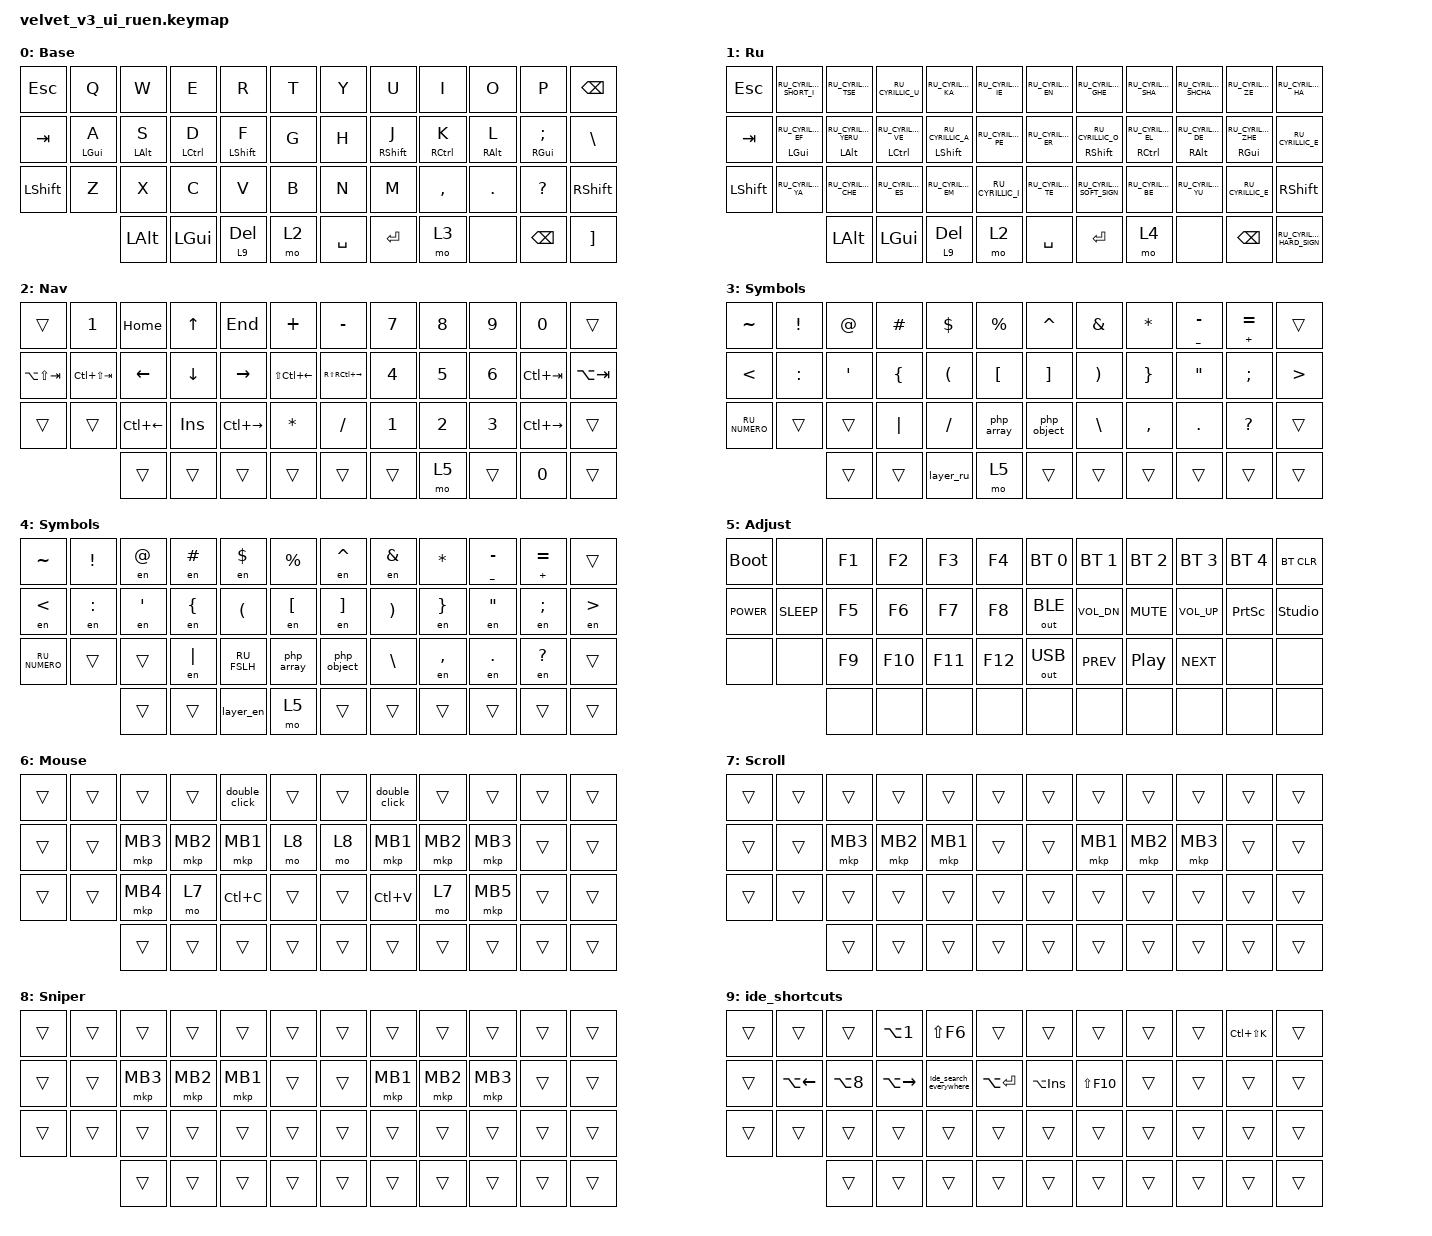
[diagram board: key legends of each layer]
#include "keys_ru.h"
#include <dt-bindings/zmk/input_transform.h>
#include <input/processors.dtsi>
#include <zephyr/dt-bindings/input/input-event-codes.h>
#include <behaviors.dtsi>
#include <dt-bindings/zmk/bt.h>
#include <dt-bindings/zmk/keys.h>
#include <dt-bindings/zmk/outputs.h>
#include <dt-bindings/zmk/pointing.h>

/ {
    behaviors {
        cap_sen: cap_sen {
            compatible = "zmk,behavior-hold-tap";
            label = "CAP_SEN";
            bindings = <&mo>, <&mkp>;

            #binding-cells = <2>;
            tapping-term-ms = <150>;
            hold-while-undecided;
        };

        mouse_layer: mouse_layer {
            compatible = "zmk,behavior-sticky-key";
            label = "MOUSE_LAYER";
            bindings = <&mo>;
            #binding-cells = <1>;
            release-after-ms = <200>;
            quick-release;
        };

        home_row_delay: home_row_delay {
            compatible = "zmk,behavior-hold-tap";
            label = "HOME_ROW_DELAY";
            bindings = <&kp>, <&kp>;

            #binding-cells = <2>;
            flavor = "balanced";
            tapping-term-ms = <220>;
            require-prior-idle-ms = <100>;
        };

        delete_or_to_ide_shortcuts: delete_or_to_ide_shortcuts {
            compatible = "zmk,behavior-hold-tap";
            label = "DELETE_OR_TO_IDE_SHORTCUTS";
            bindings = <&mo>, <&kp>;

            #binding-cells = <2>;
            tapping-term-ms = <250>;
            flavor = "balanced";
        };

        zip_auto_mouse: zip_auto_mouse {
            compatible = "zmk,input-processor-temp-layer";
            #input-processor-cells = <2>;
            require-prior-idle-ms = <800>;
            excluded-positions = <>;
        };
    };

    combos {
        compatible = "zmk,combos";

        cmben {
            bindings = <&layer_en>;
            key-positions = <24 35>;
            layers = <1>;
        };

        cmbru {
            bindings = <&layer_ru>;
            key-positions = <35 24>;
            layers = <0>;
        };
    };

    macros {
        to_ru: to_ru {
            compatible = "zmk,behavior-macro";
            #binding-cells = <0>;
            bindings = <&kp LS(LC(N2))>;
            label = "TO_RU";
            wait-ms = <0>;
            tap-ms = <30>;
        };

        to_en: to_en {
            compatible = "zmk,behavior-macro";
            #binding-cells = <0>;
            bindings = <&kp LS(LC(N1))>;
            label = "TO_EN";
            wait-ms = <0>;
            tap-ms = <30>;
        };

        layer_en: layer_en {
            compatible = "zmk,behavior-macro";
            #binding-cells = <0>;
            bindings = <&to 0 &to_en>;
            label = "LAYER_EN";
            wait-ms = <0>;
            tap-ms = <30>;
        };

        layer_ru: layer_ru {
            compatible = "zmk,behavior-macro";
            #binding-cells = <0>;
            bindings = <&to 1 &to_ru>;
            label = "LAYER_RU";
            tap-ms = <30>;
            wait-ms = <0>;
        };

        en: en {
            compatible = "zmk,behavior-macro-one-param";
            #binding-cells = <1>;
            bindings =
                <&to_en>,
                <&macro_press>,
                <&macro_param_1to1 &kp MACRO_PLACEHOLDER>,
                <&macro_pause_for_release>,
                <&macro_release>,
                <&macro_param_1to1 &kp MACRO_PLACEHOLDER>,
                <&macro_tap>,
                <&to_ru>;

            label = "EN";
            wait-ms = <0>;
            tap-ms = <30>;
        };

        double_click: double_click {
            compatible = "zmk,behavior-macro";
            #binding-cells = <0>;
            bindings = <&mkp LCLK &mkp LCLK>;
            label = "DOUBLE_CLICK";
        };

        php_array: php_array {
            compatible = "zmk,behavior-macro";
            #binding-cells = <0>;
            bindings = <&kp EQUAL &en GT>;
            label = "PHP_ARRAY";
        };

        php_object: php_object {
            compatible = "zmk,behavior-macro";
            #binding-cells = <0>;
            bindings = <&kp MINUS &en GT>;
            label = "PHP_OBJECT";
        };

        ide_search_everywhere: ide_search_everywhere {
            compatible = "zmk,behavior-macro";
            #binding-cells = <0>;
            bindings = <&kp LEFT_SHIFT &kp LEFT_SHIFT>;
            label = "IDE_SEARCH_EVERYWHERE";
        };

        new_macro: new_macro {
            compatible = "zmk,behavior-macro";
            #binding-cells = <0>;
            bindings = <&none>;
            label = "NEW_MACRO";
        };
    };

    keymap {
        compatible = "zmk,keymap";

        en {
            bindings = <
&kp ESC    &kp Q                       &kp W                       &kp E                    &kp R                                 &kp T                        &kp Y  &kp U                          &kp I                    &kp O                        &kp P                           &kp BSPC
&kp TAB    &home_row_delay LEFT_GUI A  &home_row_delay LEFT_ALT S  &home_row_delay LCTRL D  &home_row_delay LEFT_SHIFT F          &kp G                        &kp H  &home_row_delay RIGHT_SHIFT J  &home_row_delay RCTRL K  &home_row_delay RIGHT_ALT L  &home_row_delay RIGHT_GUI SEMI  &kp BSLH
&kp LSHFT  &kp Z                       &kp X                       &kp C                    &kp V                                 &kp B                        &kp N  &kp M                          &kp COMMA                &kp DOT                      &kp QMARK                       &kp RSHFT
                                       &kp LALT                    &kp LGUI                 &delete_or_to_ide_shortcuts 9 DELETE  &mo 2  &kp SPACE    &kp RET  &mo 3  &none                          &kp BACKSPACE            &kp RBKT
            >;

            display-name = "Base";
        };

        ru {
            display-name = "Ru";
            bindings = <
&kp ESC    &kp RU_CYRILLIC_SHORT_I                  &kp RU_CYRILLIC_TSE                        &kp RU_CYRILLIC_U                     &kp RU_CYRILLIC_KA                        &kp RU_CYRILLIC_IE                        &kp RU_CYRILLIC_EN  &kp RU_CYRILLIC_GHE                        &kp RU_CYRILLIC_SHA                   &kp RU_CYRILLIC_SHCHA                     &kp RU_CYRILLIC_ZE                         &kp RU_CYRILLIC_HA
&kp TAB    &home_row_delay LEFT_GUI RU_CYRILLIC_EF  &home_row_delay LEFT_ALT RU_CYRILLIC_YERU  &home_row_delay LCTRL RU_CYRILLIC_VE  &home_row_delay LEFT_SHIFT RU_CYRILLIC_A  &kp RU_CYRILLIC_PE                        &kp RU_CYRILLIC_ER  &home_row_delay RIGHT_SHIFT RU_CYRILLIC_O  &home_row_delay RCTRL RU_CYRILLIC_EL  &home_row_delay RIGHT_ALT RU_CYRILLIC_DE  &home_row_delay RIGHT_GUI RU_CYRILLIC_ZHE  &kp RU_CYRILLIC_E
&kp LSHFT  &kp RU_CYRILLIC_YA                       &kp RU_CYRILLIC_CHE                        &kp RU_CYRILLIC_ES                    &kp RU_CYRILLIC_EM                        &kp RU_CYRILLIC_I                         &kp RU_CYRILLIC_TE  &kp RU_CYRILLIC_SOFT_SIGN                  &kp RU_CYRILLIC_BE                    &kp RU_CYRILLIC_YU                        &kp RU_CYRILLIC_E                          &kp RIGHT_SHIFT
                                                    &kp LALT                                   &kp LGUI                              &delete_or_to_ide_shortcuts 9 DELETE      &mo 2               &kp SPACE    &kp RET  &mo 4               &none                                      &kp BACKSPACE                         &kp RU_CYRILLIC_HARD_SIGN
            >;
        };

        nav {
            bindings = <
&trans           &kp N1           &kp HOME            &kp UP          &kp END              &kp PLUS                                  &kp MINUS                &kp N7        &kp N8        &kp N9        &kp N0         &trans
&kp LA(LS(TAB))  &kp LC(LS(TAB))  &kp LEFT            &kp DOWN_ARROW  &kp RIGHT_ARROW      &kp LS(LC(LEFT_ARROW))                    &kp RS(RC(RIGHT_ARROW))  &kp NUMBER_4  &kp NUMBER_5  &kp N6        &kp LC(TAB)    &kp LA(TAB)
&trans           &trans           &kp LC(LEFT_ARROW)  &kp INS         &kp LC(RIGHT_ARROW)  &kp ASTERISK                              &kp SLASH                &kp N1        &kp NUMBER_2  &kp NUMBER_3  &kp LC(RIGHT)  &trans
                                  &trans              &trans          &trans               &trans                  &trans    &trans  &mo 5                    &trans        &kp N0        &trans
            >;

            display-name = "Nav";
        };

        sym_en {
            bindings = <
&kp TILDE      &kp EXCL   &kp AT_SIGN       &kp HASH        &kp DOLLAR  &kp PRCNT                           &kp CARET          &kp AMPERSAND  &kp ASTRK        &mt UNDER MINUS    &mt PLUS EQUAL  &trans
&kp LESS_THAN  &kp COLON  &kp SINGLE_QUOTE  &kp LEFT_BRACE  &kp LPAR    &kp LEFT_BRACKET                    &kp RIGHT_BRACKET  &kp RPAR       &kp RIGHT_BRACE  &kp DOUBLE_QUOTES  &kp SEMI        &kp GREATER_THAN
&kp RU_NUMERO  &trans     &trans            &kp PIPE        &kp FSLH    &php_array                          &php_object        &kp BACKSLASH  &kp COMMA        &kp DOT            &kp QMARK       &trans
                          &trans            &trans          &layer_ru   &mo 5             &trans    &trans  &trans             &trans         &trans           &trans
            >;

            display-name = "Symbols";
        };

        sym_ru {
            display-name = "Symbols";
            bindings = <
&kp TILDE      &kp EXCL   &en AT            &en HASH        &en DOLLAR   &kp PRCNT                           &en CARET          &en AMPERSAND  &kp STAR         &mt UNDER MINUS    &mt PLUS EQUAL  &trans
&en LESS_THAN  &en COLON  &en SINGLE_QUOTE  &en LEFT_BRACE  &kp LPAR     &en LEFT_BRACKET                    &en RIGHT_BRACKET  &kp RPAR       &en RIGHT_BRACE  &en DOUBLE_QUOTES  &en SEMICOLON   &en GREATER_THAN
&kp RU_NUMERO  &trans     &trans            &en PIPE        &kp RU_FSLH  &php_array                          &php_object        &kp BSLH       &en COMMA        &en DOT            &en QUESTION    &trans
                          &trans            &trans          &layer_en    &mo 5             &trans    &trans  &trans             &trans         &trans           &trans
            >;
        };

        adj {
            bindings = <
&bootloader  &none        &kp F1  &kp F2   &kp F3   &kp F4                   &bt BT_SEL 0  &bt BT_SEL 1  &bt BT_SEL 2      &bt BT_SEL 3  &bt BT_SEL 4     &bt BT_CLR
&kp C_POWER  &kp C_SLEEP  &kp F5  &kp F6   &kp F7   &kp F8                   &out OUT_BLE  &kp C_VOL_DN  &kp C_MUTE        &kp C_VOL_UP  &kp PRINTSCREEN  &studio_unlock
&none        &none        &kp F9  &kp F10  &kp F11  &kp F12                  &out OUT_USB  &kp C_PREV    &kp C_PLAY_PAUSE  &kp C_NEXT    &none            &none
                          &none   &none    &none    &none    &none    &none  &none         &none         &none             &none
            >;

            display-name = "Adjust";
        };

        mouse {
            bindings = <
&trans  &trans  &trans    &trans    &double_click  &trans                    &trans  &double_click  &trans    &trans    &trans  &trans
&trans  &trans  &mkp MB3  &mkp MB2  &mkp MB1       &mo 8                     &mo 8   &mkp MB1       &mkp MB2  &mkp MB3  &trans  &trans
&trans  &trans  &mkp MB4  &mo 7     &kp LC(C)      &trans                    &trans  &kp LC(V)      &mo 7     &mkp MB5  &trans  &trans
                &trans    &trans    &trans         &trans  &trans    &trans  &trans  &trans         &trans    &trans
            >;

            display-name = "Mouse";
        };

        scroll {
            bindings = <
&trans  &trans  &trans    &trans    &trans    &trans                    &trans  &trans    &trans    &trans    &trans  &trans
&trans  &trans  &mkp MB3  &mkp MB2  &mkp MB1  &trans                    &trans  &mkp MB1  &mkp MB2  &mkp MB3  &trans  &trans
&trans  &trans  &trans    &trans    &trans    &trans                    &trans  &trans    &trans    &trans    &trans  &trans
                &trans    &trans    &trans    &trans  &trans    &trans  &trans  &trans    &trans    &trans
            >;

            display-name = "Scroll";
        };

        sniper {
            bindings = <
&trans  &trans  &trans    &trans    &trans    &trans                    &trans  &trans    &trans    &trans    &trans  &trans
&trans  &trans  &mkp MB3  &mkp MB2  &mkp MB1  &trans                    &trans  &mkp MB1  &mkp MB2  &mkp MB3  &trans  &trans
&trans  &trans  &trans    &trans    &trans    &trans                    &trans  &trans    &trans    &trans    &trans  &trans
                &trans    &trans    &trans    &trans  &trans    &trans  &trans  &trans    &trans    &trans
            >;

            display-name = "Sniper";
        };

        ide_shortcuts {
            bindings = <
&trans  &trans              &trans      &kp LA(N1)           &kp LS(F6)              &trans                           &trans          &trans       &trans  &trans  &kp LC(LS(K))  &trans
&trans  &kp LA(LEFT_ARROW)  &kp LA(N8)  &kp LA(RIGHT_ARROW)  &ide_search_everywhere  &kp LA(ENTER)                    &kp LA(INSERT)  &kp LS(F10)  &trans  &trans  &trans         &trans
&trans  &trans              &trans      &trans               &trans                  &trans                           &trans          &trans       &trans  &trans  &trans         &trans
                            &trans      &trans               &trans                  &trans         &trans    &trans  &trans          &trans       &trans  &trans
            >;
        };
    };
};

&trackball { cpi = <1000>; };

&trackball_listener {
    input-processors = <&zip_auto_mouse 6 500>, <&zip_xy_scaler 9 20>;

    scroller {
        layers = <7>;
        input-processors =
            <&zip_xy_transform INPUT_TRANSFORM_Y_INVERT>,
            <&zip_xy_scaler 1 32>,
            <&zip_xy_to_scroll_mapper>;
    };

    sniper {
        layers = <8>;
        input-processors = <&zip_xy_scaler 1 4>;
    };
};
